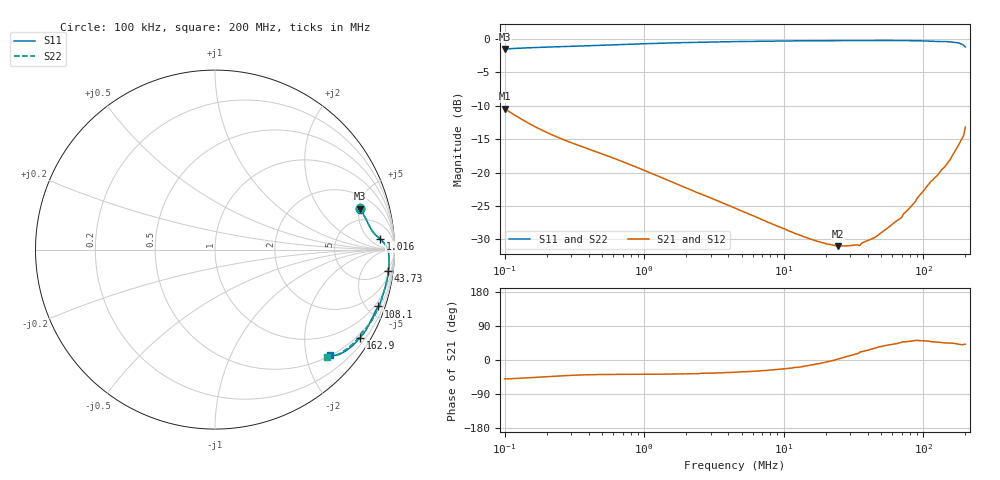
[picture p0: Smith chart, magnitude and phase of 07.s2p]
#  HZ  S  RI  R  50.00
! Rohde & Schwarz Vector Network Analyzer
! Rohde-Schwarz,ZNLE6-2Port,1323001256200024,1.71.1.10-23.02.1.238
! Created: UTC 4/7/2025, 9:27:20 AM
! freq[Hz]  re:S11  im:S11  re:S21  im:S21  re:S12  im:S12  re:S22  im:S22
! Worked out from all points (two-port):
!   1001 points, 100 kHz to 200 MHz, reference 50 ohm
!   highest |S21| = -10.43 dB at 100 kHz (marker M1); lowest = -31.0 dB at 24.54 MHz (marker M2)
!   |S21| within 3 dB of the highest: start of sweep to 176.6 kHz; 198.9 MHz to end of sweep
!   lowest |S11| = -1.5 dB at 100 kHz (marker M3), VSWR 11.47, Z = 165 + j256 ohm
!   |S11| at or under -10 dB: nowhere
!   |S22| runs from -1.5 to -0.2 dB; largest |S21 - S12| = 0.0079
!   S11 on the Smith chart (normalised r, x): 100 kHz: 3.31, +5.13; 1.016 MHz: 15, +12; 43.73 MHz: 3, -15; 108.1 MHz: 0.66, -5.84; 162.9 MHz: 0.38, -3.54; 200 MHz: 0.52, -2.48
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100000  0.8078 0.2288  0.1939 -0.23  0.1945 -0.2304  0.8074 0.229
185090.2  0.8535 0.1451  0.1477 -0.1462  0.1481 -0.1465  0.8532 0.1453
355854.1  0.8797 0.0984  0.1212 -0.0996  0.1215 -0.0998  0.8796 0.0985
1015814  0.9187 0.0603  0.0818 -0.0632  0.082 -0.0634  0.9186 0.0601
1266322  0.9259 0.0537  0.0746 -0.0572  0.0747 -0.0574  0.9257 0.0535
4472136  0.9547 0.0178  0.0459 -0.029  0.0452 -0.0296  0.9555 0.0183
1.104937e7  0.9665 -0.0134  0.0338 -0.0133  0.0335 -0.0145  0.9667 -0.0142
1.591428e7  0.9689 -0.031  0.0308 -0.00717  0.0306 -0.00753  0.9694 -0.0331
2.029644e7  0.97 -0.0462  0.0292 -0.0025  0.0291 -0.00336  0.9703 -0.0482
2.454402e7  0.9699 -0.06  0.0281 0.00147  0.0281 0.000774  0.9703 -0.0626
3.429186e7  0.9684 -0.0913  0.0273 0.00876  0.0272 0.00841  0.9685 -0.0955
4.373448e7  0.9661 -0.1204  0.028 0.0161  0.0286 0.0149  0.9657 -0.1246
5.663162e7  0.9601 -0.1595  0.03 0.0252  0.0306 0.0241  0.9589 -0.1656
6.848331e7  0.9523 -0.1962  0.0317 0.0324  0.0334 0.031  0.9494 -0.2039
8.344716e7  0.9397 -0.2406  0.0367 0.0441  0.038 0.0428  0.9347 -0.2527
1.080554e8  0.9097 -0.3168  0.052 0.0619  0.0539 0.0608  0.9056 -0.3328
1.248436e8  0.8859 -0.3616  0.0644 0.0694  0.0658 0.0683  0.8805 -0.385
1.453405e8  0.8527 -0.4291  0.0801 0.0808  0.0807 0.078  0.836 -0.4449
1.628929e8  0.8086 -0.4902  0.0976 0.0952  0.1001 0.0901  0.7918 -0.5004
1.798107e8  0.7505 -0.5484  0.1218 0.1081  0.125 0.1029  0.7222 -0.5612
1.910838e8  0.6958 -0.5824  0.1401 0.1186  0.1439 0.1142  0.661 -0.5915
2e8  0.6415 -0.5867  0.1646 0.1449  0.1711 0.1404  0.6222 -0.6
